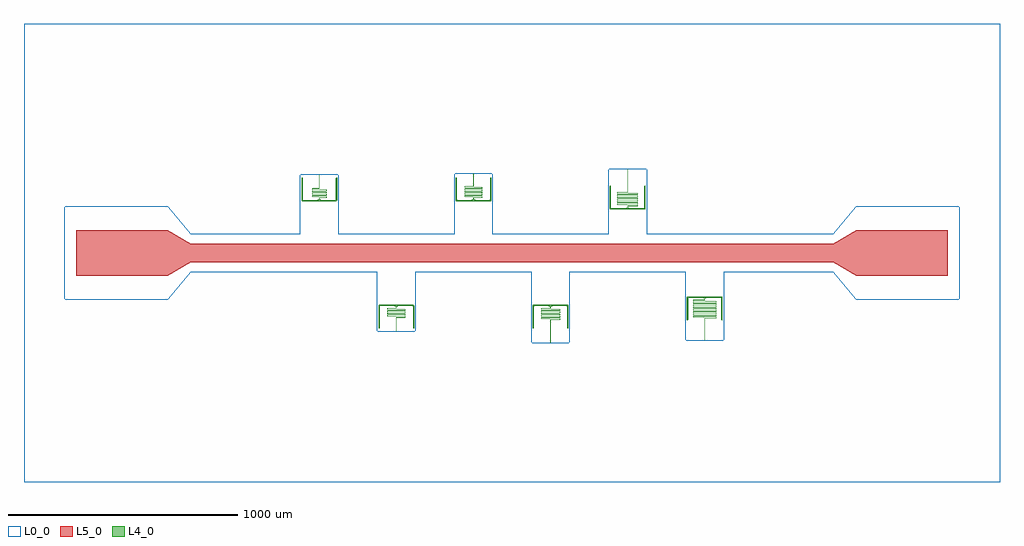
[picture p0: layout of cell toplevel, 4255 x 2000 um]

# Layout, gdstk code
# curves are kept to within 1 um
import gdstk
lib = gdstk.Library(unit=1e-6, precision=1e-09)
def P(c, l, *ps):  # polygons
    for p in ps: c.add(gdstk.Polygon(p, *l))
L0_0 = (0, 0)
L4_0 = (4, 0)
L5_0 = (5, 0)

toplevel = lib.new_cell('toplevel')
P(toplevel, L0_0, [(2127.5,1000),(-2127.5,1000),(-2127.5,-202.5),(-1950,-202.5),(-1950,202.5),(-1500,202.5),(-1400,81),(-922.5,81),(-922.5,341),(-757.5,341),(-757.5,81),(-250.5,81),(-250.5,346),(-85.5,346),(-85.5,81),(421.5,81),(421.5,365),(586.5,365),(586.5,81),(1400,81),(1500,202.5),(1950,202.5),(1950,-202.5),(1500,-202.5),(1400,-81),(922.5,-81),(922.5,-380),(757.5,-380),(757.5,-81),(250.5,-81),(250.5,-391),(85.5,-391),(85.5,-81),(-421.5,-81),(-421.5,-341),(-586.5,-341),(-586.5,-81),(-1400,-81),(-1500,-202.5),(-2127.5,-202.5),(-2127.5,-1000),(2127.5,-1000)])
P(toplevel, L4_0, [(-839.7,239.825),(-839.566,240.436),(-839.02,240.599),(-809.78,240.61),(-808.933,241.03),(-808.7,242.001),(-808.75,245.368),(-809.13,245.967),(-809.828,246.193),(-869.888,246.2),(-870.646,246.505),(-870.689,250.097),(-870.127,250.595),(-809.923,250.602),(-808.79,251.301),(-808.738,255.316),(-809.1,255.944),(-809.81,256.192),(-869.888,256.2),(-870.644,256.498),(-870.682,260.151),(-870.145,260.594),(-809.946,260.601),(-808.797,261.281),(-808.733,265.29),(-809.058,265.908),(-809.816,266.192),(-869.95,266.2),(-870.64,266.489),(-870.687,270.11),(-870.15,270.593),(-810.008,270.6),(-808.81,271.248),(-808.736,275.303),(-809.082,275.929),(-809.786,276.19),(-869.95,276.2),(-870.632,276.47),(-870.691,280.076),(-870.247,280.582),(-840.963,280.601),(-839.834,281.196),(-839.7,340.9),(-840.3,340.9),(-840.375,281.455),(-841.02,281.2),(-870.364,281.171),(-871.272,280.258),(-871.178,276.222),(-869.986,275.6),(-809.85,275.593),(-809.312,275.106),(-809.364,271.479),(-810.05,271.2),(-870.214,271.19),(-870.918,270.929),(-871.263,270.309),(-871.198,266.268),(-870.763,265.764),(-869.992,265.6),(-809.864,265.594),(-809.31,265.089),(-809.365,261.476),(-809.985,261.201),(-870.19,261.192),(-870.918,260.929),(-871.264,260.303),(-871.208,256.294),(-870.077,255.602),(-809.855,255.594),(-809.309,255.076),(-809.356,251.498),(-810.112,251.2),(-870.22,251.189),(-870.912,250.934),(-871.265,250.296),(-871.232,246.367),(-870.814,245.794),(-870.077,245.602),(-809.824,245.591),(-809.315,245.127),(-809.308,241.728),(-809.985,241.201),(-839.481,241.146),(-840.278,240.22),(-840.3,235.9),(-850,231),(-910.62,231),(-912.259,231.263),(-912.5,232.9),(-912.502,326.109),(-912.952,327.434),(-914.043,328.31),(-915.326,328.479),(-916.607,327.915),(-917.266,327.056),(-917.5,326),(-917.475,231.954),(-916.915,229.4),(-915.563,227.507),(-913.447,226.346),(-910.644,226),(-769.356,226),(-766.888,226.253),(-764.934,227.118),(-763.131,229.296),(-762.504,232.513),(-762.5,326),(-763.085,327.607),(-764.353,328.415),(-765.752,328.384),(-766.983,327.522),(-767.498,326.109),(-767.5,232.88),(-767.751,231.251),(-769.38,231),(-830,231),(-839.7,235.9)],
  [(-504.302,-239.977),(-504.443,-240.446),(-504.919,-240.597),(-542.377,-240.631),(-543.085,-241.055),(-543.3,-241.958),(-543.267,-245.29),(-542.965,-245.887),(-542.39,-246.167),(-466.01,-246.2),(-465.432,-246.366),(-465.3,-247.022),(-465.32,-250.159),(-465.891,-250.596),(-541.981,-250.6),(-542.75,-250.757),(-543.19,-251.248),(-543.261,-255.316),(-542.9,-255.944),(-542.172,-256.193),(-466.06,-256.2),(-465.367,-256.473),(-465.313,-260.114),(-465.877,-260.595),(-541.975,-260.6),(-542.73,-260.747),(-543.172,-261.209),(-543.263,-265.309),(-542.906,-265.939),(-542.172,-266.193),(-466.06,-266.2),(-465.376,-266.452),(-465.313,-270.11),(-465.877,-270.595),(-541.97,-270.6),(-543.15,-271.163),(-543.265,-275.296),(-542.912,-275.934),(-542.178,-276.193),(-466.065,-276.2),(-465.388,-276.429),(-465.309,-280.08),(-465.79,-280.587),(-503.003,-280.6),(-504.117,-281.105),(-504.3,-340.9),(-503.7,-340.9),(-503.606,-281.418),(-502.96,-281.2),(-465.693,-281.18),(-465.041,-280.892),(-464.728,-280.258),(-464.864,-276.137),(-466.03,-275.6),(-542.123,-275.595),(-542.687,-275.11),(-542.618,-271.44),(-541.935,-271.2),(-465.828,-271.193),(-465.093,-270.939),(-464.736,-270.303),(-464.837,-266.189),(-466.025,-265.6),(-542.123,-265.595),(-542.687,-265.11),(-542.628,-261.461),(-541.94,-261.2),(-465.828,-261.193),(-465.099,-260.944),(-464.738,-260.316),(-464.816,-256.235),(-465.263,-255.75),(-466.025,-255.6),(-542.123,-255.595),(-542.687,-255.114),(-542.636,-251.479),(-541.94,-251.2),(-465.852,-251.195),(-465.07,-250.919),(-464.736,-250.303),(-464.8,-246.275),(-465.218,-245.775),(-465.969,-245.601),(-542.167,-245.592),(-542.685,-245.127),(-542.694,-241.755),(-542.548,-241.344),(-542.077,-241.202),(-504.584,-241.161),(-503.986,-240.836),(-503.726,-240.245),(-503.7,-235.9),(-494,-231),(-433.38,-231),(-431.741,-231.263),(-431.5,-232.88),(-431.498,-326.109),(-431.048,-327.434),(-429.957,-328.31),(-428.674,-328.479),(-427.393,-327.915),(-426.734,-327.056),(-426.5,-326),(-426.525,-231.954),(-427.1,-229.365),(-428.437,-227.507),(-430.552,-226.346),(-433.356,-226),(-574.644,-226),(-577.112,-226.253),(-579.066,-227.118),(-580.853,-229.261),(-581.496,-232.513),(-581.5,-326),(-580.915,-327.607),(-579.647,-328.415),(-578.248,-328.384),(-577.017,-327.522),(-576.502,-326.109),(-576.5,-232.88),(-576.254,-231.257),(-574.62,-231),(-514,-231),(-504.3,-235.9)],
  [(-167.7,239.83),(-167.559,240.444),(-167.005,240.599),(-131.316,240.607),(-130.461,240.993),(-130.2,242.001),(-130.257,245.394),(-130.624,245.962),(-131.358,246.195),(-204.388,246.2),(-205.148,246.512),(-205.184,250.139),(-204.654,250.593),(-131.463,250.601),(-130.718,250.775),(-130.3,251.275),(-130.236,255.303),(-130.57,255.919),(-131.346,256.194),(-204.445,256.2),(-205.139,256.486),(-205.187,260.114),(-204.627,260.595),(-131.519,260.6),(-130.75,260.757),(-130.31,261.248),(-130.238,265.316),(-130.593,265.939),(-131.322,266.193),(-204.44,266.2),(-205.132,266.47),(-205.187,270.11),(-204.627,270.595),(-131.525,270.6),(-130.776,270.743),(-130.331,271.202),(-130.236,275.303),(-130.593,275.939),(-131.322,276.193),(-204.44,276.2),(-205.121,276.446),(-205.187,280.11),(-204.627,280.595),(-131.53,280.6),(-130.357,281.15),(-130.235,285.296),(-130.587,285.934),(-131.316,286.192),(-204.435,286.2),(-205.109,286.424),(-205.191,290.076),(-204.714,290.587),(-168.991,290.601),(-167.89,291.092),(-167.7,345.9),(-168.3,345.9),(-168.399,291.411),(-169.04,291.2),(-204.82,291.178),(-205.47,290.882),(-205.774,290.245),(-205.629,286.124),(-204.47,285.6),(-131.373,285.595),(-130.812,285.106),(-130.885,281.435),(-131.56,281.2),(-204.684,281.192),(-205.412,280.934),(-205.765,280.296),(-205.657,276.176),(-205.211,275.737),(-204.475,275.6),(-131.373,275.595),(-130.813,275.11),(-130.873,271.458),(-131.56,271.2),(-204.678,271.193),(-205.406,270.939),(-205.763,270.309),(-205.681,266.228),(-205.237,265.75),(-204.481,265.6),(-131.373,265.595),(-130.813,265.114),(-130.864,261.479),(-131.555,261.2),(-204.678,261.193),(-205.406,260.939),(-205.762,260.316),(-205.695,256.261),(-205.256,255.76),(-204.481,255.6),(-131.386,255.596),(-130.819,255.155),(-130.855,251.502),(-131.505,251.2),(-204.653,251.194),(-205.394,250.948),(-205.765,250.296),(-205.708,246.294),(-205.224,245.743),(-204.388,245.6),(-131.346,245.593),(-130.944,245.448),(-130.801,244.944),(-130.808,241.728),(-131.172,241.234),(-167.428,241.159),(-168.019,240.83),(-168.275,240.239),(-168.3,235.9),(-178,231),(-238.62,231),(-240.243,231.246),(-240.5,232.9),(-240.502,326.109),(-240.952,327.434),(-242.043,328.31),(-243.326,328.479),(-244.607,327.915),(-245.266,327.056),(-245.5,326),(-245.475,231.954),(-244.915,229.4),(-243.563,227.507),(-241.447,226.346),(-238.644,226),(-97.356,226),(-94.888,226.253),(-92.934,227.118),(-91.869,228.1),(-91.1,229.365),(-90.503,232.563),(-90.5,326),(-91.085,327.607),(-92.353,328.415),(-93.752,328.384),(-94.983,327.522),(-95.498,326.109),(-95.5,232.88),(-95.751,231.251),(-97.38,231),(-158,231),(-167.7,235.9)],
  [(167.697,-239.977),(167.527,-240.474),(166.899,-240.6),(127.699,-240.619),(126.961,-240.993),(126.701,-241.88),(126.729,-245.264),(127.007,-245.859),(127.493,-246.14),(208.091,-246.203),(208.544,-246.341),(208.695,-246.768),(208.695,-250.023),(208.427,-250.533),(127.876,-250.604),(127.082,-250.871),(126.715,-251.63),(126.725,-255.239),(127.296,-256.066),(208.114,-256.204),(208.548,-256.344),(208.689,-256.707),(208.494,-260.498),(127.876,-260.604),(127.058,-260.891),(126.717,-261.618),(126.712,-265.138),(127.142,-265.976),(128.111,-266.2),(208.114,-266.204),(208.688,-266.698),(208.53,-270.472),(127.882,-270.604),(127.099,-270.856),(126.731,-271.523),(126.704,-275.024),(127.013,-275.865),(128.111,-276.2),(208.109,-276.204),(208.687,-276.686),(208.559,-280.444),(127.888,-280.603),(127.148,-280.82),(126.75,-281.432),(126.7,-284.897),(127.013,-285.865),(127.957,-286.199),(207.94,-286.2),(208.644,-286.498),(208.689,-290.093),(208.206,-290.588),(168.98,-290.601),(168.231,-290.768),(167.8,-291.275),(167.7,-390.9),(168.3,-390.9),(168.359,-291.492),(169.03,-291.2),(208.294,-291.182),(208.948,-290.903),(209.267,-290.29),(209.205,-286.288),(208.763,-285.764),(207.981,-285.6),(127.882,-285.596),(127.314,-285.118),(127.353,-281.508),(128.055,-281.2),(208.165,-281.194),(208.894,-280.948),(209.259,-280.328),(209.217,-276.321),(208.782,-275.775),(207.981,-275.6),(127.882,-275.596),(127.314,-275.123),(127.348,-271.522),(128.055,-271.2),(208.165,-271.194),(208.894,-270.948),(209.257,-270.335),(209.226,-266.347),(208.788,-265.779),(207.981,-265.6),(127.882,-265.596),(127.314,-265.123),(127.344,-261.536),(128.055,-261.2),(208.165,-261.194),(208.894,-260.948),(209.257,-260.335),(209.234,-256.373),(208.801,-255.787),(207.986,-255.6),(127.882,-255.595),(127.315,-255.127),(127.341,-251.546),(128.055,-251.2),(208.13,-251.196),(208.882,-250.958),(209.257,-250.335),(209.24,-246.393),(208.858,-245.824),(208.031,-245.601),(127.868,-245.595),(127.313,-245.114),(127.378,-241.449),(128.106,-241.2),(167.396,-241.165),(168.008,-240.842),(168.273,-240.251),(168.3,-235.9),(178,-231),(238.62,-231),(240.243,-231.246),(240.5,-232.9),(240.502,-326.109),(240.734,-327.056),(241.311,-327.843),(242.145,-328.349),(243.109,-328.498),(244.768,-327.768),(245.498,-326.109),(245.5,-232.88),(245.154,-230.052),(243.964,-227.905),(242.031,-226.556),(239.327,-226.014),(97.356,-226),(95.02,-226.221),(93.07,-227.027),(91.923,-228.034),(91.147,-229.261),(90.505,-232.462),(90.5,-326),(90.69,-326.957),(91.311,-327.843),(92.248,-328.384),(93.218,-328.49),(94.768,-327.768),(95.498,-326.109),(95.5,-232.88),(95.751,-231.251),(97.38,-231),(158,-231),(167.7,-235.9)],
  [(504.3,203.83),(504.421,204.421),(504.933,204.598),(548.332,204.624),(549.058,205.018),(549.299,205.88),(549.269,209.277),(549.024,209.824),(548.474,210.148),(459.919,210.203),(459.458,210.339),(459.306,210.764),(459.305,214.023),(459.573,214.533),(548.118,214.604),(548.948,214.897),(549.29,215.686),(549.274,219.245),(548.652,220.09),(459.886,220.204),(459.452,220.344),(459.311,220.703),(459.304,224.004),(459.508,224.499),(548.118,224.604),(548.936,224.886),(549.282,225.612),(549.287,229.145),(548.814,230.006),(547.888,230.2),(459.891,230.204),(459.458,230.339),(459.312,230.694),(459.472,234.474),(548.112,234.603),(548.894,234.852),(549.269,235.523),(549.288,239.138),(548.953,239.898),(547.888,240.2),(459.896,240.204),(459.464,240.333),(459.314,240.682),(459.443,244.446),(548.106,244.603),(548.912,244.866),(549.264,245.497),(549.296,249.024),(549.019,249.83),(547.888,250.2),(459.896,250.204),(459.47,250.328),(459.315,250.673),(459.416,254.414),(460.117,254.6),(548.106,254.603),(548.833,254.807),(549.241,255.4),(549.299,258.897),(548.987,259.865),(548.037,260.199),(460.065,260.2),(459.363,260.482),(459.311,264.093),(459.807,264.589),(503.008,264.601),(503.75,264.757),(504.184,265.235),(504.3,364.9),(503.7,364.9),(503.633,265.473),(502.96,265.2),(459.724,265.184),(459.058,264.908),(458.733,264.29),(458.808,260.255),(459.25,259.757),(460.03,259.6),(548.104,259.596),(548.528,259.474),(548.686,259.123),(548.641,255.492),(547.94,255.2),(459.846,255.194),(459.105,254.948),(458.741,254.328),(458.795,250.288),(459.237,249.764),(460.025,249.6),(548.109,249.596),(548.528,249.474),(548.686,249.123),(548.646,245.505),(547.94,245.2),(459.846,245.194),(459.105,244.948),(458.741,244.328),(458.785,240.314),(459.224,239.771),(460.025,239.6),(548.109,239.596),(548.528,239.474),(548.686,239.123),(548.651,235.518),(547.94,235.2),(459.852,235.195),(459.112,234.953),(458.743,234.335),(458.776,230.34),(459.211,229.779),(460.025,229.6),(548.109,229.596),(548.528,229.474),(548.685,229.127),(548.655,225.532),(547.94,225.2),(459.852,225.195),(459.112,224.953),(458.744,224.341),(458.768,220.367),(459.199,219.787),(460.019,219.6),(548.109,219.596),(548.528,219.474),(548.685,219.127),(548.657,215.539),(547.945,215.2),(459.882,215.196),(459.118,214.958),(458.743,214.335),(458.762,210.387),(459.186,209.794),(459.98,209.601),(548.063,209.598),(548.528,209.474),(548.686,209.118),(548.622,205.449),(547.894,205.2),(504.571,205.159),(504.002,204.853),(503.728,204.258),(503.7,199.9),(494,195),(433.38,195),(431.765,195.24),(431.5,196.88),(431.498,290.109),(431.266,291.056),(430.689,291.843),(429.855,292.349),(428.891,292.498),(427.943,292.266),(427.232,291.768),(426.69,290.957),(426.502,290.109),(426.5,196.856),(426.846,194.052),(428.007,191.937),(429.935,190.57),(432.673,190.014),(574.644,190),(576.98,190.221),(578.93,191.027),(580.077,192.034),(580.853,193.261),(581.321,194.715),(581.495,196.462),(581.5,290),(581.31,290.957),(580.689,291.843),(579.752,292.384),(578.782,292.49),(577.232,291.768),(576.69,290.957),(576.502,290.109),(576.5,196.88),(576.254,195.257),(574.62,195),(514,195),(504.3,199.9)],
  [(839.697,-203.981),(839.548,-204.455),(839.058,-204.598),(790.693,-204.62),(789.956,-205),(789.701,-205.863),(789.731,-209.277),(790.029,-209.882),(790.604,-210.165),(889.091,-210.203),(889.544,-210.341),(889.695,-210.768),(889.692,-214.063),(889.375,-214.553),(790.894,-214.603),(790.029,-214.918),(789.712,-215.668),(789.726,-219.245),(789.961,-219.806),(790.388,-220.105),(889.109,-220.204),(889.546,-220.343),(889.697,-220.805),(889.696,-224.009),(889.445,-224.525),(790.888,-224.603),(790.064,-224.886),(789.718,-225.612),(789.713,-229.145),(790.192,-230.009),(791.117,-230.2),(889.109,-230.204),(889.542,-230.339),(889.688,-230.694),(889.696,-234.009),(889.523,-234.477),(790.894,-234.603),(790.07,-234.881),(789.72,-235.593),(789.713,-239.145),(790.082,-239.929),(791.117,-240.2),(889.104,-240.204),(889.538,-240.335),(889.687,-240.686),(889.556,-244.448),(888.883,-244.6),(790.894,-244.603),(790.082,-244.871),(789.723,-245.574),(789.704,-249.024),(790.018,-249.87),(791.117,-250.2),(889.1,-250.204),(889.532,-250.33),(889.686,-250.677),(889.556,-254.448),(888.883,-254.6),(790.9,-254.603),(790.1,-254.856),(789.727,-255.549),(789.704,-259.024),(789.956,-259.8),(790.44,-260.124),(791.117,-260.2),(889.095,-260.203),(889.523,-260.323),(889.69,-260.711),(889.582,-264.416),(888.883,-264.6),(790.792,-264.609),(790.047,-264.902),(789.73,-265.529),(789.704,-269.024),(789.928,-269.764),(790.394,-270.108),(791.117,-270.2),(889.095,-270.203),(889.546,-270.343),(889.689,-270.707),(889.607,-274.379),(888.883,-274.6),(790.911,-274.602),(790.199,-274.787),(789.772,-275.354),(789.7,-278.892),(790.013,-279.865),(790.974,-280.199),(888.93,-280.2),(889.625,-280.455),(889.689,-284.093),(889.548,-284.455),(889.176,-284.591),(841.003,-284.6),(840.283,-284.74),(839.843,-285.176),(839.7,-285.979),(839.7,-379.9),(840.3,-379.9),(840.379,-285.446),(841.045,-285.2),(889.251,-285.187),(889.936,-284.914),(890.268,-284.283),(890.166,-280.196),(889.717,-279.74),(888.964,-279.6),(790.905,-279.597),(790.472,-279.474),(790.314,-279.118),(790.371,-275.464),(791.065,-275.2),(889.136,-275.195),(889.888,-274.953),(890.26,-274.322),(890.181,-270.228),(889.73,-269.747),(888.964,-269.6),(790.905,-269.597),(790.475,-269.475),(790.314,-269.123),(790.364,-265.479),(791.065,-265.2),(889.136,-265.195),(889.888,-264.953),(890.259,-264.328),(890.195,-260.261),(889.75,-259.757),(888.97,-259.6),(790.905,-259.597),(790.475,-259.475),(790.315,-259.127),(790.358,-255.495),(791.065,-255.2),(889.136,-255.195),(889.882,-254.958),(890.257,-254.335),(890.208,-250.294),(889.763,-249.764),(888.97,-249.6),(790.905,-249.597),(790.475,-249.475),(790.315,-249.127),(790.353,-245.508),(791.065,-245.2),(889.136,-245.195),(889.882,-244.958),(890.257,-244.335),(890.215,-240.314),(889.776,-239.771),(888.97,-239.6),(790.905,-239.597),(790.475,-239.475),(790.315,-239.127),(790.349,-235.518),(790.567,-235.269),(791.06,-235.2),(889.136,-235.195),(889.882,-234.958),(890.256,-234.341),(890.224,-230.34),(889.782,-229.775),(888.97,-229.6),(790.905,-229.597),(790.477,-229.477),(790.315,-229.131),(790.345,-225.532),(790.561,-225.272),(791.06,-225.2),(889.136,-225.195),(889.882,-224.958),(890.256,-224.341),(890.23,-220.36),(889.795,-219.783),(888.975,-219.6),(790.914,-219.597),(790.488,-219.486),(790.32,-219.163),(790.345,-215.532),(790.529,-215.288),(791.025,-215.2),(889.196,-215.192),(889.882,-214.958),(890.256,-214.341),(890.243,-210.406),(889.845,-209.815),(889.031,-209.601),(790.937,-209.598),(790.47,-209.472),(790.314,-209.118),(790.359,-205.492),(791.106,-205.2),(839.403,-205.164),(839.987,-204.865),(840.271,-204.264),(840.3,-199.9),(850,-195),(910.62,-195),(912.218,-195.228),(912.5,-196.9),(912.502,-290.109),(912.734,-291.056),(913.311,-291.843),(914.145,-292.349),(915.109,-292.498),(915.957,-292.31),(916.768,-291.768),(917.31,-290.957),(917.498,-290.109),(917.5,-196.88),(917.154,-194.052),(916.678,-192.915),(915.964,-191.905),(914.031,-190.556),(911.327,-190.014),(769.356,-190),(767.02,-190.221),(765.07,-191.027),(763.923,-192.034),(763.147,-193.261),(762.679,-194.715),(762.505,-196.462),(762.5,-290),(762.69,-290.957),(763.311,-291.843),(764.248,-292.384),(765.218,-292.49),(766.056,-292.266),(766.768,-291.768),(767.31,-290.957),(767.498,-290.109),(767.5,-196.88),(767.751,-195.251),(769.38,-195),(830,-195),(839.7,-199.9)])
P(toplevel, L5_0, [(-1400,40),(-1500,100),(-1900,100),(-1900,-100),(-1500,-100),(-1400,-40),(1400,-40),(1500,-100),(1900,-100),(1900,100),(1500,100),(1400,40)])

lib.write_gds('toplevel.gds')
